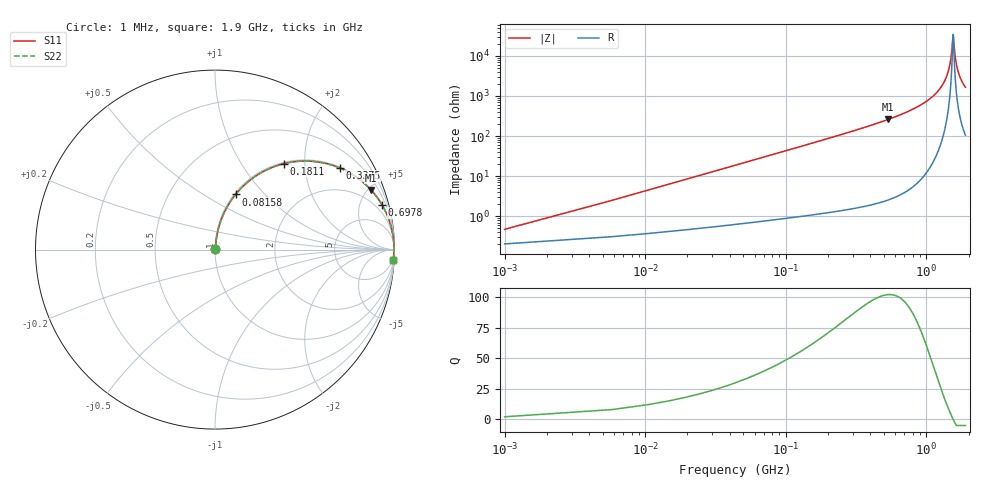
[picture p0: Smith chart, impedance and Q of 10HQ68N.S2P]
! Coilcraft 1008HQ-68N Chip Inductor
! 10 July 2002
# MHZ S MA R 50
!Freq  MagS11  AngS11  MagS21  AngS21  MagS12  AngS12  MagS22  AngS22
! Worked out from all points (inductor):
!   402 points, 1 MHz to 1.9 GHz, reference 50 ohm
!   read as one part in series: L = 68 nH near 10.48 MHz
!   highest Q = 102 at 536.6 MHz (marker M1), where L = 77.2 nH
!   self-resonance near 1.551 GHz
!   S11 on the Smith chart (normalised r, x): 1 MHz: 1.00, +0.01; 81.58 MHz: 1.02, +0.70; 181.1 MHz: 1.02, +1.57; 337.5 MHz: 1.03, +3.03; 697.8 MHz: 1.08, +7.46; 1.9 GHz: 3, -33
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1  0.004729 64.1  0.9979 -0.2  0.9979 -0.2  0.004729 64.1
15.22  0.06476 82.6  0.9937 -3.7  0.9937 -3.7  0.06476 82.6
24.7  0.1046 81.3  0.9896 -6.0  0.9896 -6.0  0.1046 81.3
48.4  0.2015 76.6  0.9731 -11.6  0.9731 -11.6  0.2015 76.6
81.58  0.3277 69.5  0.9372 -19.1  0.9372 -19.1  0.3277 69.5
181.12  0.6128 51.4  0.7811 -37.8  0.7811 -37.8  0.6128 51.4
318.58  0.8134 34.9  0.5725 -54.4  0.5725 -54.4  0.8134 34.9
337.54  0.8301 33.3  0.5485 -56.1  0.5485 -56.1  0.8301 33.3
536.62  0.9304 20.9  0.3575 -68.5  0.3575 -68.5  0.9304 20.9
636.16  0.9535 17.0  0.2921 -72.4  0.2921 -72.4  0.9535 17.0
697.78  0.9634 15.0  0.2581 -74.4  0.2581 -74.4  0.9634 15.0
953.74  0.9863 8.7  0.151 -80.5  0.151 -80.5  0.9863 8.7
1271.32  0.9957 3.5  0.06089 -84.2  0.06089 -84.2  0.9957 3.5
1380.34  0.9968 2.1  0.03599 -83.8  0.03599 -83.8  0.9968 2.1
1456.18  0.9971 1.1  0.01998 -81.1  0.01998 -81.1  0.9971 1.1
1503.58  0.9971 0.6  0.01055 -74.0  0.01055 -74.0  0.9971 0.6
1550.98  0.9971 0.0  0.00304 -16.4  0.00304 -16.4  0.9971 0.0
1565.2  0.9971 -0.1  0.003496 32.4  0.003496 32.4  0.9971 -0.1
1584.16  0.997 -0.3  0.006253 61.1  0.006253 61.1  0.997 -0.3
1626.82  0.9968 -0.8  0.01381 76.3  0.01381 76.3  0.9968 -0.8
1688.44  0.9964 -1.4  0.02484 81.1  0.02484 81.1  0.9964 -1.4
1900  0.9943 -3.5  0.06038 82.9  0.06038 82.9  0.9943 -3.5
